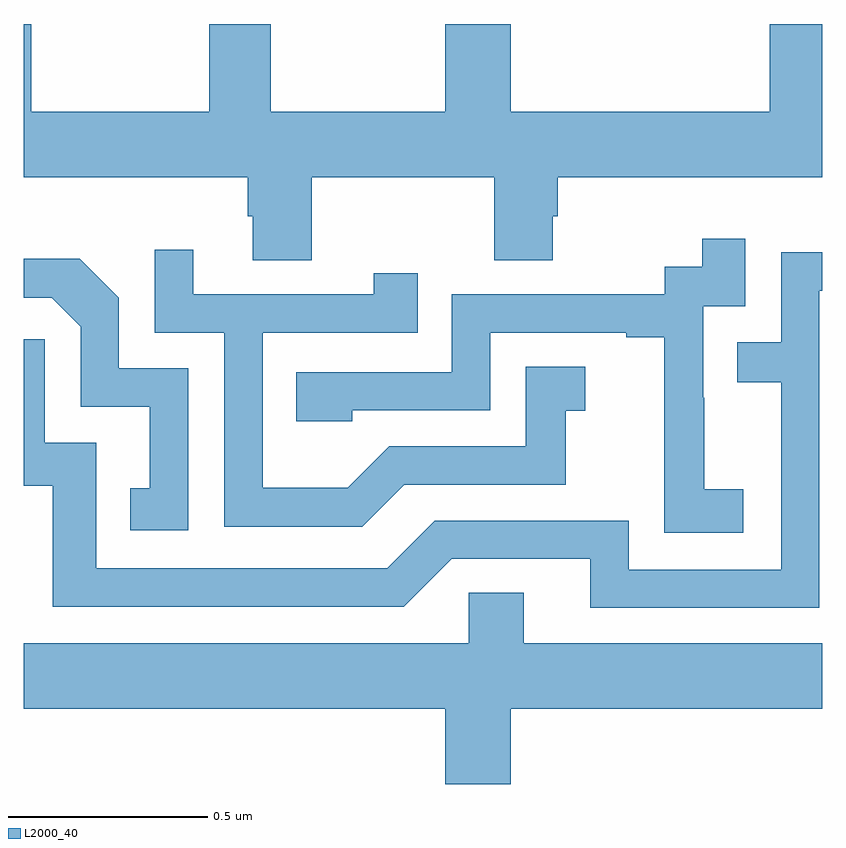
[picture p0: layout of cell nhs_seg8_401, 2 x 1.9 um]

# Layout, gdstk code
import gdstk
lib = gdstk.Library(unit=1e-6, precision=1e-09)
def P(c, l, *ps):  # polygons
    for p in ps: c.add(gdstk.Polygon(p, *l))
L2000_40 = (2000, 40)

nhs_seg8_401 = lib.new_cell('nhs_seg8_401')
P(nhs_seg8_401, L2000_40, [(116.721,1100.516),(117.178,1100.516),(117.178,1100.308),(117.325,1100.308),(117.325,1100.418),(117.338,1100.418),(117.338,1100.516),(118,1100.516),(118,1100.9),(117.869,1100.9),(117.869,1100.68),(117.22,1100.68),(117.22,1100.9),(117.056,1100.9),(117.056,1100.68),(116.619,1100.68),(116.619,1100.9),(116.464,1100.9),(116.464,1100.68),(116.019,1100.68),(116.019,1100.9),(116,1100.9),(116,1100.516),(116.561,1100.516),(116.561,1100.418),(116.573,1100.418),(116.573,1100.308),(116.721,1100.308)],
  [(117.802,1099.735),(117.704,1099.735),(117.704,1099.964),(117.702,1099.964),(117.702,1100.193),(117.807,1100.193),(117.807,1100.362),(117.699,1100.362),(117.699,1100.292),(117.606,1100.292),(117.606,1100.223),(117.072,1100.223),(117.072,1100.028),(116.683,1100.028),(116.683,1099.905),(116.823,1099.905),(116.823,1099.932),(117.168,1099.932),(117.168,1100.127),(117.509,1100.127),(117.509,1100.115),(117.605,1100.115),(117.605,1099.831),(117.604,1099.831),(117.604,1099.625),(117.802,1099.625)],
  [(116.953,1099.746),(117.357,1099.746),(117.357,1099.931),(117.406,1099.931),(117.406,1100.041),(117.258,1100.041),(117.258,1099.842),(116.916,1099.842),(116.812,1099.738),(116.598,1099.738),(116.598,1100.127),(116.987,1100.127),(116.987,1100.275),(116.876,1100.275),(116.876,1100.223),(116.425,1100.223),(116.425,1100.335),(116.328,1100.335),(116.328,1100.127),(116.502,1100.127),(116.502,1099.641),(116.848,1099.641)],
  [(117.993,1100.232),(118,1100.232),(118,1100.328),(117.897,1100.328),(117.897,1100.103),(117.787,1100.103),(117.787,1100.002),(117.897,1100.002),(117.897,1099.533),(117.516,1099.533),(117.516,1099.656),(117.03,1099.656),(116.91,1099.536),(116.181,1099.536),(116.181,1099.851),(116.052,1099.851),(116.052,1100.11),(116,1100.11),(116,1099.743),(116.073,1099.743),(116.073,1099.44),(116.952,1099.44),(117.072,1099.56),(117.419,1099.56),(117.419,1099.437),(117.993,1099.437)],
  [(116.412,1100.037),(116.238,1100.037),(116.238,1100.214),(116.14,1100.312),(116,1100.312),(116,1100.214),(116.07,1100.214),(116.142,1100.142),(116.142,1099.941),(116.315,1099.941),(116.315,1099.737),(116.266,1099.737),(116.266,1099.632),(116.412,1099.632)],
  [(117.22,1099.184),(118,1099.184),(118,1099.348),(117.253,1099.348),(117.253,1099.475),(117.114,1099.475),(117.114,1099.348),(116,1099.348),(116,1099.184),(117.056,1099.184),(117.056,1098.996),(117.22,1098.996)])

lib.write_gds('nhs_seg8_401.gds')
